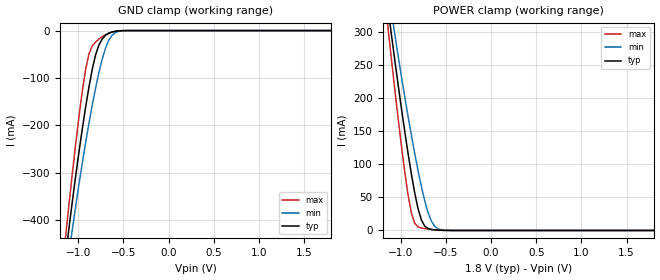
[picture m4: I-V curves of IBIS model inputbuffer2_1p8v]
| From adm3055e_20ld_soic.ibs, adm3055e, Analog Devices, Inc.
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|   Model: inputbuffer2_1p8v
[Model]   inputbuffer2_1p8v
Model_type Input
Vinl=0.63
Vinh=1.17
|   variable   typ   min   max
C_comp   1.496532e-12 1.445997e-12 1.548961e-12
[Temperature Range]   25   105   -40
[Voltage Range]   1.8   1.7   1.9
[Power Clamp Reference] 1.8   1.7   1.9
[GND Clamp Reference]   0   0   0
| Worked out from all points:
|   GND clamp passes 1 mA (typ) near -0.57 V on its own axis
|   POWER clamp passes 1 mA (typ) near -0.63 V on its own axis
[Power_clamp]
| Voltage   I(typ)   I(min)   I(max)
-1.8V     1.134A     1.044A     1.248A
-1.139V   333.9mA    363.3mA    303.7mA
-1.102V   295.1mA    329.4mA    257.8mA
-1.065V   257.2mA    296.3mA    212.9mA
-991.8mV  184.3mA    232.5mA    127.4mA
-918.4mV  116.2mA    172.2mA    53.3mA
-881.6mV  84.89mA    143.6mA    26.26mA
-808.2mV  32.9mA     90.39mA    5.345mA
-734.7mV  6.682mA    45.02mA    2.926mA
-661.2mV  1.516mA    14.19mA    1.58mA
-551mV    276.6uA    983.4uA    309.1uA
1.8V      -29.22pA   -352.8pA   -25.03pA
[GND_clamp]
| Voltage   I(typ)   I(min)   I(max)
-1.8V     -1.697A    -1.551A    -1.895A
-1.139V   -474.8mA   -521.7mA   -433.2mA
-1.102V   -417mA     -470.3mA   -366.4mA
-1.065V   -361.3mA   -420.3mA   -302.1mA
-991.8mV  -256.6mA   -324.9mA   -181.8mA
-918.4mV  -162mA     -236.9mA   -82.3mA
-881.6mV  -119.5mA   -196.1mA   -49.59mA
-808.2mV  -51.56mA   -121.7mA   -24.25mA
-734.7mV  -17.79mA   -60.3mA    -12.79mA
-624.5mV  -2.923mA   -9.733mA   -3.006mA
-514.3mV  -191.8uA   -607.7uA   -177.3uA
1.8V      49.62pA    401.1pA    46.63pA
